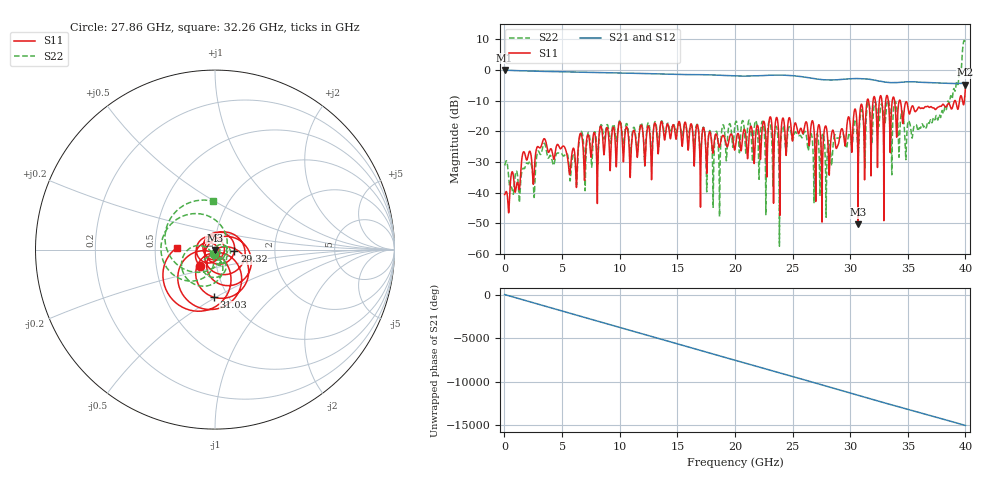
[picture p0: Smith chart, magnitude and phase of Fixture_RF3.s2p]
!Keysight Technologies,M9808A,MY58100004,Z.13.03.239
!Automatic Fixture Removal (AFR)
!Date: Tuesday, September 10, 2019, 11:04:19
!S2P File: Measurements: S11,S21,S12,S22:
# MHz S  RI  R 50
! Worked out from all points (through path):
!   4000 points, 10 MHz to 40 GHz, reference 50 ohm
!   highest |S21| = -0.01 dB at 10 MHz (marker M1); lowest = -4.8 dB at 40 GHz (marker M2)
!   group delay of S21, straight-line fit = 1.04 ns
!   lowest |S11| = -50.4 dB at 30.69 GHz (marker M3), VSWR 1.01, Z = 49.8 - j0.249 ohm
!   |S11| at or under -10 dB: start of sweep to 31.47 GHz; 33.85 GHz to 34.26 GHz (408.8 MHz wide, 1.2 % of centre); 34.34 GHz to 39.07 GHz (4.722 GHz wide, 12.9 % of centre)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
!   |S22| runs from -57.5 to 9.7 dB; largest |S21 - S12| = 1.4e-15
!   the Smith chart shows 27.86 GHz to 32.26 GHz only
!   S11 on the Smith chart (normalised r, x): 27.86 GHz: 0.84, -0.15; 29.32 GHz: 1.24, -0.02; 31.03 GHz: 0.86, -0.49; 32.26 GHz: 0.65, +0.01
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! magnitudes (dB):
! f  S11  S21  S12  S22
! 10 MHz  -40.7  0.0  0.0  -31.1
! 650 MHz  -33.3  -0.1  -0.1  -38.7
! 3.42 GHz  -22.5  -0.4  -0.4  -24.0
! 6.19 GHz  -33.3  -0.7  -0.7  -33.4
! 6.68 GHz  -21.0  -0.7  -0.7  -20.0
! 6.99 GHz  -31.9  -0.8  -0.8  -39.1
! 8.41 GHz  -18.7  -0.9  -0.9  -17.9
! 13.34 GHz  -27.4  -1.3  -1.3  -25.2
! 16.71 GHz  -17.9  -1.5  -1.5  -17.7
! 18.11 GHz  -26.8  -1.6  -1.6  -44.8
! 20.01 GHz  -25.8  -1.9  -1.9  -17.8
! 26.67 GHz  -16.9  -2.7  -2.7  -21.4
! 27.57 GHz  -40.9  -3.1  -3.1  -21.3
! 27.86 GHz  -18.3  -3.2  -3.2  -31.8
! 29.32 GHz  -19.3  -3.1  -3.1  -21.1
! 30.69 GHz  -50.4  -2.8  -2.8  -28.3
! 31.03 GHz  -11.5  -2.8  -2.8  -13.1
! 32.26 GHz  -13.5  -3.4  -3.4  -11.4
! 33.34 GHz  -11.3  -4.0  -4.0  -10.1
! 34.84 GHz  -10.4  -3.9  -3.9  -28.9
! 37.72 GHz  -12.0  -4.2  -4.2  -14.6
! 40 GHz  -6.0  -4.8  -4.8  8.4
